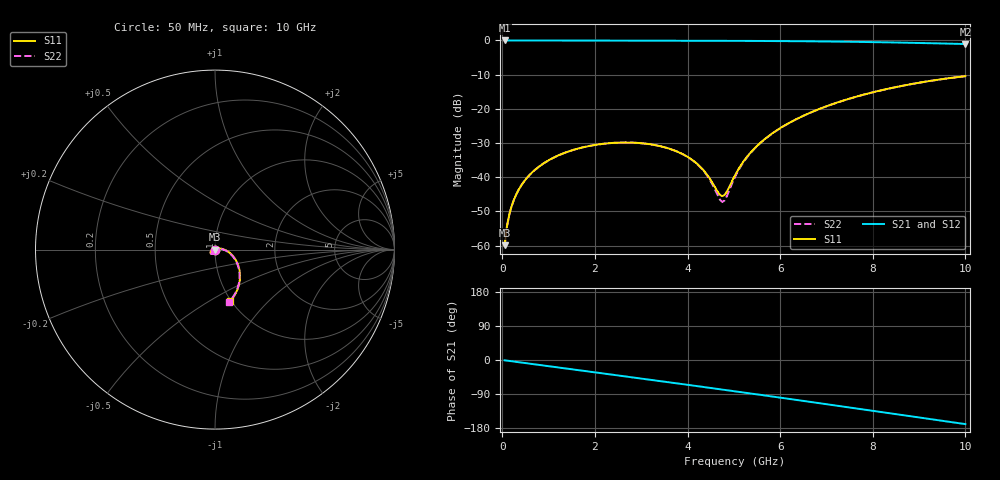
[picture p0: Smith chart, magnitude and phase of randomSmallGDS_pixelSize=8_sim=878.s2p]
! freq	dB(S11)	phase(S11)	dB(S12)	phase(S12)
!  dB(S21)	phase(S21)	dB(S22)	phase(S22)
!S-par simulation data
#  GHz  S  DB  R 50
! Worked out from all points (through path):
!   200 points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, 50 MHz to 10 GHz, reference 50 ohm
!   highest |S21| = 0.00 dB at 50 MHz (marker M1); lowest = -1.0 dB at 10 GHz (marker M2)
!   group delay of S21, straight-line fit = 47 ps
!   lowest |S11| = -59.9 dB at 50 MHz (marker M3), VSWR 1.00, Z = 50 - j0.1 ohm
!   |S11| at or under -10 dB: start of sweep to end of sweep
!   |S22| runs from -60.2 to -10.5 dB; largest |S21 - S12| = 0
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0.05  -59.93 -96.4  -0.00 -0.8  -0.00 -0.8  -60.17 -98.5
0.1  -54.37 -95.6  -0.00 -1.6  -0.00 -1.6  -54.47 -95.9
0.2  -48.52 -95.6  -0.00 -3.3  -0.00 -3.3  -48.55 -95.6
0.35  -43.74 -97.4  -0.00 -5.7  -0.00 -5.7  -43.75 -97.4
0.5  -40.72 -99.7  -0.01 -8.2  -0.01 -8.2  -40.72 -99.6
1  -35.06 -108.1  -0.02 -16.3  -0.02 -16.3  -35.06 -107.9
1.75  -31.23 -121.1  -0.03 -28.5  -0.03 -28.5  -31.23 -120.8
2.6  -29.85 -136.1  -0.05 -42.4  -0.05 -42.4  -29.85 -135.6
3.4  -30.89 -151.6  -0.07 -55.5  -0.07 -55.5  -30.90 -150.7
3.85  -32.94 -162.3  -0.08 -62.9  -0.08 -62.9  -32.97 -160.7
4.2  -35.99 -174.2  -0.09 -68.8  -0.09 -68.8  -36.08 -171.6
4.45  -39.79 169.8  -0.09 -72.9  -0.09 -72.9  -40.08 174.2
4.65  -44.24 137.8  -0.10 -76.3  -0.10 -76.3  -45.31 143.3
4.75  -45.53 106.1  -0.11 -78.0  -0.11 -78.0  -47.22 107.4
4.85  -44.20 72.7  -0.11 -79.7  -0.11 -79.7  -45.52 68.1
5.05  -38.82 37.8  -0.12 -83.0  -0.12 -83.0  -39.24 33.0
5.3  -33.76 21.0  -0.13 -87.3  -0.13 -87.3  -33.92 17.9
5.65  -29.03 8.7  -0.15 -93.2  -0.15 -93.2  -29.11 6.5
6.1  -24.84 -2.4  -0.19 -101.0  -0.19 -101.0  -24.88 -4.0
6.7  -20.84 -14.8  -0.26 -111.4  -0.26 -111.4  -20.86 -16.0
8.35  -14.06 -45.3  -0.56 -140.3  -0.56 -140.3  -14.08 -46.1
10  -10.44 -74.0  -1.05 -169.2  -1.05 -169.2  -10.45 -74.7
